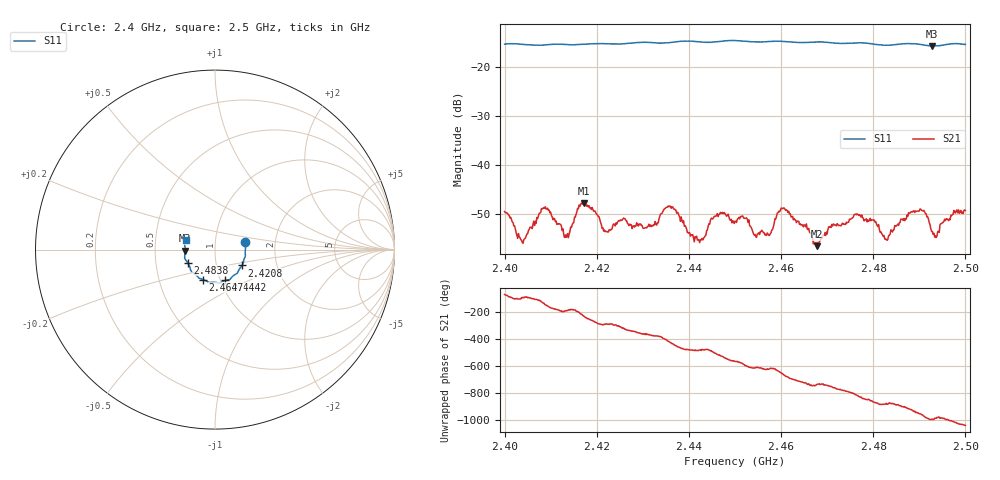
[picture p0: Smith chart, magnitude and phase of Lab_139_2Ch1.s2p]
# Hz S RI R 50
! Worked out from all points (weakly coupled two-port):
!   601 points, 2.4 GHz to 2.5 GHz, reference 50 ohm
!   highest |S21| = -47.78 dB at 2.4172 GHz (marker M1); lowest = -56.7 dB at 2.4678 GHz (marker M2)
!   lowest |S11| = -15.6 dB at 2.4928 GHz (marker M3), VSWR 1.40, Z = 35.8 - j0.392 ohm
!   |S11| at or under -10 dB: start of sweep to end of sweep
!   S12 and S22 are empty: the file has one direction only
!   S11 on the Smith chart (normalised r, x): 2.4 GHz: 1.40, +0.12; 2.4208 GHz: 1.33, -0.24; 2.4442 GHz: 1.05, -0.37; 2.4647 GHz: 0.83, -0.29; 2.4838 GHz: 0.73, -0.11; 2.5 GHz: 0.72, +0.08
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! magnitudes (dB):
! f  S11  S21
! 2.4 GHz  -15.2  -49.6
! 2.404 GHz  -15.3  -56.1
! 2.4085 GHz  -15.4  -48.8
! 2.4135 GHz  -15.3  -54.4
! 2.4167 GHz  -15.3  -47.8
! 2.4172 GHz  -15.2  -47.8
! 2.4208 GHz  -15.1  -51.8
! 2.4333 GHz  -15.0  -51.9
! 2.436 GHz  -14.9  -48.5
! 2.4415 GHz  -14.7  -54.9
! 2.4442 GHz  -14.9  -52.6
! 2.45 GHz  -14.5  -51.5
! 2.4605 GHz  -14.7  -48.8
! 2.4647 GHz  -14.9  -52.3
! 2.4667 GHz  -14.8  -54.7
! 2.4678 GHz  -14.8  -56.7
! 2.4763 GHz  -15.0  -50.2
! 2.4833 GHz  -15.5  -54.5
! 2.4838 GHz  -15.4  -53.3
! 2.4905 GHz  -15.4  -49.3
! 2.4928 GHz  -15.6  -53.7
! 2.5 GHz  -15.3  -49.3
